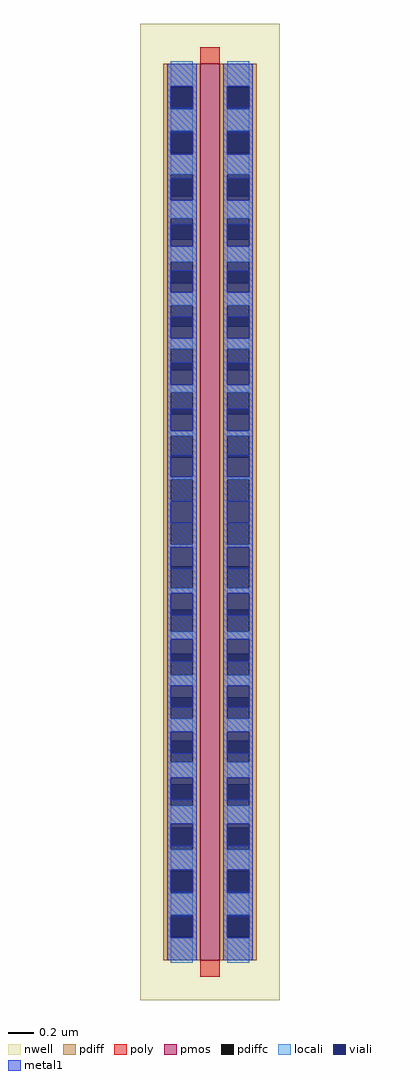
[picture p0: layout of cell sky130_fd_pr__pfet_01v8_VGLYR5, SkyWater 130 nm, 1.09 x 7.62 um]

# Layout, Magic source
magic
tech sky130A
magscale 1 2
<< nwell >>
rect -109 -762 109 762
<< pmos >>
rect -15 -700 15 700
<< pdiff >>
rect -73 663 -15 700
rect -73 629 -61 663
rect -27 629 -15 663
rect -73 595 -15 629
rect -73 561 -61 595
rect -27 561 -15 595
rect -73 527 -15 561
rect -73 493 -61 527
rect -27 493 -15 527
rect -73 459 -15 493
rect -73 425 -61 459
rect -27 425 -15 459
rect -73 391 -15 425
rect -73 357 -61 391
rect -27 357 -15 391
rect -73 323 -15 357
rect -73 289 -61 323
rect -27 289 -15 323
rect -73 255 -15 289
rect -73 221 -61 255
rect -27 221 -15 255
rect -73 187 -15 221
rect -73 153 -61 187
rect -27 153 -15 187
rect -73 119 -15 153
rect -73 85 -61 119
rect -27 85 -15 119
rect -73 51 -15 85
rect -73 17 -61 51
rect -27 17 -15 51
rect -73 -17 -15 17
rect -73 -51 -61 -17
rect -27 -51 -15 -17
rect -73 -85 -15 -51
rect -73 -119 -61 -85
rect -27 -119 -15 -85
rect -73 -153 -15 -119
rect -73 -187 -61 -153
rect -27 -187 -15 -153
rect -73 -221 -15 -187
rect -73 -255 -61 -221
rect -27 -255 -15 -221
rect -73 -289 -15 -255
rect -73 -323 -61 -289
rect -27 -323 -15 -289
rect -73 -357 -15 -323
rect -73 -391 -61 -357
rect -27 -391 -15 -357
rect -73 -425 -15 -391
rect -73 -459 -61 -425
rect -27 -459 -15 -425
rect -73 -493 -15 -459
rect -73 -527 -61 -493
rect -27 -527 -15 -493
rect -73 -561 -15 -527
rect -73 -595 -61 -561
rect -27 -595 -15 -561
rect -73 -629 -15 -595
rect -73 -663 -61 -629
rect -27 -663 -15 -629
rect -73 -700 -15 -663
rect 15 663 73 700
rect 15 629 27 663
rect 61 629 73 663
rect 15 595 73 629
rect 15 561 27 595
rect 61 561 73 595
rect 15 527 73 561
rect 15 493 27 527
rect 61 493 73 527
rect 15 459 73 493
rect 15 425 27 459
rect 61 425 73 459
rect 15 391 73 425
rect 15 357 27 391
rect 61 357 73 391
rect 15 323 73 357
rect 15 289 27 323
rect 61 289 73 323
rect 15 255 73 289
rect 15 221 27 255
rect 61 221 73 255
rect 15 187 73 221
rect 15 153 27 187
rect 61 153 73 187
rect 15 119 73 153
rect 15 85 27 119
rect 61 85 73 119
rect 15 51 73 85
rect 15 17 27 51
rect 61 17 73 51
rect 15 -17 73 17
rect 15 -51 27 -17
rect 61 -51 73 -17
rect 15 -85 73 -51
rect 15 -119 27 -85
rect 61 -119 73 -85
rect 15 -153 73 -119
rect 15 -187 27 -153
rect 61 -187 73 -153
rect 15 -221 73 -187
rect 15 -255 27 -221
rect 61 -255 73 -221
rect 15 -289 73 -255
rect 15 -323 27 -289
rect 61 -323 73 -289
rect 15 -357 73 -323
rect 15 -391 27 -357
rect 61 -391 73 -357
rect 15 -425 73 -391
rect 15 -459 27 -425
rect 61 -459 73 -425
rect 15 -493 73 -459
rect 15 -527 27 -493
rect 61 -527 73 -493
rect 15 -561 73 -527
rect 15 -595 27 -561
rect 61 -595 73 -561
rect 15 -629 73 -595
rect 15 -663 27 -629
rect 61 -663 73 -629
rect 15 -700 73 -663
<< pdiffc >>
rect -61 629 -27 663
rect -61 561 -27 595
rect -61 493 -27 527
rect -61 425 -27 459
rect -61 357 -27 391
rect -61 289 -27 323
rect -61 221 -27 255
rect -61 153 -27 187
rect -61 85 -27 119
rect -61 17 -27 51
rect -61 -51 -27 -17
rect -61 -119 -27 -85
rect -61 -187 -27 -153
rect -61 -255 -27 -221
rect -61 -323 -27 -289
rect -61 -391 -27 -357
rect -61 -459 -27 -425
rect -61 -527 -27 -493
rect -61 -595 -27 -561
rect -61 -663 -27 -629
rect 27 629 61 663
rect 27 561 61 595
rect 27 493 61 527
rect 27 425 61 459
rect 27 357 61 391
rect 27 289 61 323
rect 27 221 61 255
rect 27 153 61 187
rect 27 85 61 119
rect 27 17 61 51
rect 27 -51 61 -17
rect 27 -119 61 -85
rect 27 -187 61 -153
rect 27 -255 61 -221
rect 27 -323 61 -289
rect 27 -391 61 -357
rect 27 -459 61 -425
rect 27 -527 61 -493
rect 27 -595 61 -561
rect 27 -663 61 -629
<< poly >>
rect -15 700 15 726
rect -15 -726 15 -700
<< locali >>
rect -61 665 -27 704
rect -61 595 -27 629
rect -61 527 -27 559
rect -61 459 -27 487
rect -61 391 -27 415
rect -61 323 -27 343
rect -61 255 -27 271
rect -61 187 -27 199
rect -61 119 -27 127
rect -61 51 -27 55
rect -61 -55 -27 -51
rect -61 -127 -27 -119
rect -61 -199 -27 -187
rect -61 -271 -27 -255
rect -61 -343 -27 -323
rect -61 -415 -27 -391
rect -61 -487 -27 -459
rect -61 -559 -27 -527
rect -61 -629 -27 -595
rect -61 -704 -27 -665
rect 27 665 61 704
rect 27 595 61 629
rect 27 527 61 559
rect 27 459 61 487
rect 27 391 61 415
rect 27 323 61 343
rect 27 255 61 271
rect 27 187 61 199
rect 27 119 61 127
rect 27 51 61 55
rect 27 -55 61 -51
rect 27 -127 61 -119
rect 27 -199 61 -187
rect 27 -271 61 -255
rect 27 -343 61 -323
rect 27 -415 61 -391
rect 27 -487 61 -459
rect 27 -559 61 -527
rect 27 -629 61 -595
rect 27 -704 61 -665
<< viali >>
rect -61 663 -27 665
rect -61 631 -27 663
rect -61 561 -27 593
rect -61 559 -27 561
rect -61 493 -27 521
rect -61 487 -27 493
rect -61 425 -27 449
rect -61 415 -27 425
rect -61 357 -27 377
rect -61 343 -27 357
rect -61 289 -27 305
rect -61 271 -27 289
rect -61 221 -27 233
rect -61 199 -27 221
rect -61 153 -27 161
rect -61 127 -27 153
rect -61 85 -27 89
rect -61 55 -27 85
rect -61 -17 -27 17
rect -61 -85 -27 -55
rect -61 -89 -27 -85
rect -61 -153 -27 -127
rect -61 -161 -27 -153
rect -61 -221 -27 -199
rect -61 -233 -27 -221
rect -61 -289 -27 -271
rect -61 -305 -27 -289
rect -61 -357 -27 -343
rect -61 -377 -27 -357
rect -61 -425 -27 -415
rect -61 -449 -27 -425
rect -61 -493 -27 -487
rect -61 -521 -27 -493
rect -61 -561 -27 -559
rect -61 -593 -27 -561
rect -61 -663 -27 -631
rect -61 -665 -27 -663
rect 27 663 61 665
rect 27 631 61 663
rect 27 561 61 593
rect 27 559 61 561
rect 27 493 61 521
rect 27 487 61 493
rect 27 425 61 449
rect 27 415 61 425
rect 27 357 61 377
rect 27 343 61 357
rect 27 289 61 305
rect 27 271 61 289
rect 27 221 61 233
rect 27 199 61 221
rect 27 153 61 161
rect 27 127 61 153
rect 27 85 61 89
rect 27 55 61 85
rect 27 -17 61 17
rect 27 -85 61 -55
rect 27 -89 61 -85
rect 27 -153 61 -127
rect 27 -161 61 -153
rect 27 -221 61 -199
rect 27 -233 61 -221
rect 27 -289 61 -271
rect 27 -305 61 -289
rect 27 -357 61 -343
rect 27 -377 61 -357
rect 27 -425 61 -415
rect 27 -449 61 -425
rect 27 -493 61 -487
rect 27 -521 61 -493
rect 27 -561 61 -559
rect 27 -593 61 -561
rect 27 -663 61 -631
rect 27 -665 61 -663
<< metal1 >>
rect -67 665 -21 700
rect -67 631 -61 665
rect -27 631 -21 665
rect -67 593 -21 631
rect -67 559 -61 593
rect -27 559 -21 593
rect -67 521 -21 559
rect -67 487 -61 521
rect -27 487 -21 521
rect -67 449 -21 487
rect -67 415 -61 449
rect -27 415 -21 449
rect -67 377 -21 415
rect -67 343 -61 377
rect -27 343 -21 377
rect -67 305 -21 343
rect -67 271 -61 305
rect -27 271 -21 305
rect -67 233 -21 271
rect -67 199 -61 233
rect -27 199 -21 233
rect -67 161 -21 199
rect -67 127 -61 161
rect -27 127 -21 161
rect -67 89 -21 127
rect -67 55 -61 89
rect -27 55 -21 89
rect -67 17 -21 55
rect -67 -17 -61 17
rect -27 -17 -21 17
rect -67 -55 -21 -17
rect -67 -89 -61 -55
rect -27 -89 -21 -55
rect -67 -127 -21 -89
rect -67 -161 -61 -127
rect -27 -161 -21 -127
rect -67 -199 -21 -161
rect -67 -233 -61 -199
rect -27 -233 -21 -199
rect -67 -271 -21 -233
rect -67 -305 -61 -271
rect -27 -305 -21 -271
rect -67 -343 -21 -305
rect -67 -377 -61 -343
rect -27 -377 -21 -343
rect -67 -415 -21 -377
rect -67 -449 -61 -415
rect -27 -449 -21 -415
rect -67 -487 -21 -449
rect -67 -521 -61 -487
rect -27 -521 -21 -487
rect -67 -559 -21 -521
rect -67 -593 -61 -559
rect -27 -593 -21 -559
rect -67 -631 -21 -593
rect -67 -665 -61 -631
rect -27 -665 -21 -631
rect -67 -700 -21 -665
rect 21 665 67 700
rect 21 631 27 665
rect 61 631 67 665
rect 21 593 67 631
rect 21 559 27 593
rect 61 559 67 593
rect 21 521 67 559
rect 21 487 27 521
rect 61 487 67 521
rect 21 449 67 487
rect 21 415 27 449
rect 61 415 67 449
rect 21 377 67 415
rect 21 343 27 377
rect 61 343 67 377
rect 21 305 67 343
rect 21 271 27 305
rect 61 271 67 305
rect 21 233 67 271
rect 21 199 27 233
rect 61 199 67 233
rect 21 161 67 199
rect 21 127 27 161
rect 61 127 67 161
rect 21 89 67 127
rect 21 55 27 89
rect 61 55 67 89
rect 21 17 67 55
rect 21 -17 27 17
rect 61 -17 67 17
rect 21 -55 67 -17
rect 21 -89 27 -55
rect 61 -89 67 -55
rect 21 -127 67 -89
rect 21 -161 27 -127
rect 61 -161 67 -127
rect 21 -199 67 -161
rect 21 -233 27 -199
rect 61 -233 67 -199
rect 21 -271 67 -233
rect 21 -305 27 -271
rect 61 -305 67 -271
rect 21 -343 67 -305
rect 21 -377 27 -343
rect 61 -377 67 -343
rect 21 -415 67 -377
rect 21 -449 27 -415
rect 61 -449 67 -415
rect 21 -487 67 -449
rect 21 -521 27 -487
rect 61 -521 67 -487
rect 21 -559 67 -521
rect 21 -593 27 -559
rect 61 -593 67 -559
rect 21 -631 67 -593
rect 21 -665 27 -631
rect 61 -665 67 -631
rect 21 -700 67 -665
<< end >>
